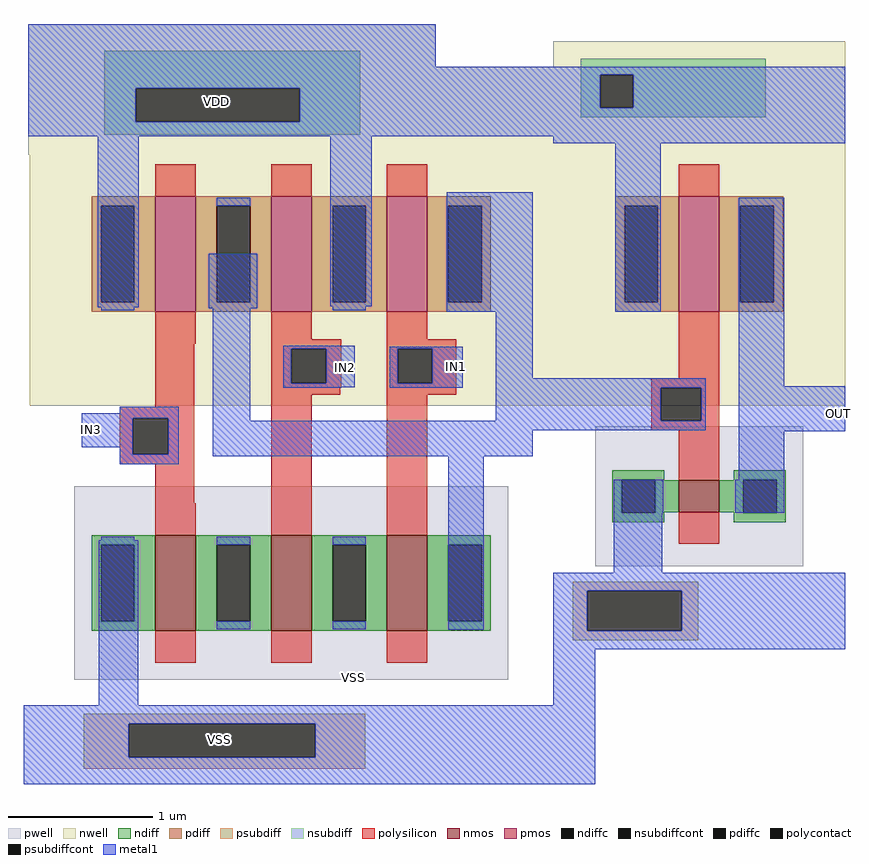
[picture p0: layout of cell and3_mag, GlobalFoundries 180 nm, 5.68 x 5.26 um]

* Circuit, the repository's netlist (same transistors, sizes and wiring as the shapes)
* NGSPICE file created from and3_mag.ext - technology: gf180mcuC

.subckt nmos_3p3_VGTVWA a_n116_n66# a_28_n66# a_n28_n110# VSUBS
X0 a_28_n66# a_n28_n110# a_n116_n66# VSUBS nfet_03v3 ad=0.29p pd=2.2u as=0.29p ps=2.2u w=0.66u l=0.28u
.ends

.subckt pmos_3p3_M8SWPS a_n28_n124# a_n116_n80# a_28_n80# w_n202_n210#
X0 a_28_n80# a_n28_n124# a_n116_n80# w_n202_n210# pfet_03v3 ad=0.352p pd=2.48u as=0.352p ps=2.48u w=0.8u l=0.28u
.ends

.subckt pmos_3p3_MQGBLR a_n28_n124# a_n116_n80# a_28_n80# w_n202_n210#
X0 a_28_n80# a_n28_n124# a_n116_n80# w_n202_n210# pfet_03v3 ad=0.352p pd=2.48u as=0.352p ps=2.48u w=0.8u l=0.28u
.ends

.subckt nmos_3p3_DDNVWA a_n120_n36# a_28_n22# a_n28_n66# VSUBS
X0 a_28_n22# a_n28_n66# a_n120_n36# VSUBS nfet_03v3 ad=0.152p pd=1.64u as=0.152p ps=1.64u w=0.22u l=0.28u
.ends

.subckt GF_INV_MAG VDD VSS IN OUT
Xpmos_3p3_MQGBLR_0 IN VDD OUT VDD pmos_3p3_MQGBLR
Xnmos_3p3_DDNVWA_0 VSS OUT IN VSS nmos_3p3_DDNVWA
.ends

.subckt and3_mag VDD VSS IN3 IN2 IN1
Xnmos_3p3_VGTVWA_0 nmos_3p3_VGTVWA_1/a_28_n66# nmos_3p3_VGTVWA_0/a_28_n66# IN2 VSS
+ nmos_3p3_VGTVWA
Xnmos_3p3_VGTVWA_1 VSS nmos_3p3_VGTVWA_1/a_28_n66# IN3 VSS nmos_3p3_VGTVWA
Xnmos_3p3_VGTVWA_2 nmos_3p3_VGTVWA_0/a_28_n66# GF_INV_MAG_0/IN IN1 VSS nmos_3p3_VGTVWA
Xpmos_3p3_M8SWPS_0 IN1 VDD GF_INV_MAG_0/IN VDD pmos_3p3_M8SWPS
Xpmos_3p3_M8SWPS_1 IN3 VDD GF_INV_MAG_0/IN VDD pmos_3p3_M8SWPS
Xpmos_3p3_M8SWPS_2 IN2 GF_INV_MAG_0/IN VDD VDD pmos_3p3_M8SWPS
XGF_INV_MAG_0 VDD VSS GF_INV_MAG_0/IN GF_INV_MAG_0/OUT GF_INV_MAG
.ends

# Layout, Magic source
magic
tech gf180mcuC
magscale 1 10
<< nwell >>
rect -64 804 500 863
rect -64 763 685 804
rect -64 708 681 763
rect -64 682 500 708
rect 295 365 304 418
rect 345 366 354 417
rect 386 361 388 418
rect 485 417 528 421
rect 436 414 484 417
rect 485 414 529 417
rect 436 365 447 414
rect 485 364 528 414
<< psubdiff >>
rect 13 -105 402 -91
rect 13 -151 75 -105
rect 333 -151 402 -105
rect 13 -167 402 -151
<< nsubdiff >>
rect 41 774 395 826
rect 41 728 85 774
rect 312 728 395 774
rect 41 710 395 728
<< psubdiffcont >>
rect 75 -151 333 -105
<< nsubdiffcont >>
rect 85 728 312 774
<< polysilicon >>
rect 289 421 369 427
rect 112 334 166 421
rect 63 318 166 334
rect 63 268 81 318
rect 130 268 166 318
rect 63 254 166 268
rect 112 200 166 254
rect 272 414 369 421
rect 272 366 300 414
rect 348 366 369 414
rect 272 360 369 366
rect 432 414 528 427
rect 432 366 447 414
rect 495 366 528 414
rect 272 350 368 360
rect 432 350 528 366
rect 272 200 328 350
rect 432 200 488 350
<< polycontact >>
rect 81 268 130 318
rect 300 366 348 414
rect 447 366 495 414
<< metal1 >>
rect -64 804 500 863
rect -64 774 685 804
rect -64 728 85 774
rect 312 763 685 774
rect 312 728 681 763
rect -64 708 681 728
rect 32 471 89 708
rect 186 470 253 545
rect 354 473 411 708
rect 63 325 144 334
rect 10 318 144 325
rect 10 278 81 318
rect 63 268 81 278
rect 130 268 144 318
rect 63 254 144 268
rect 191 314 243 470
rect 515 465 634 630
rect 289 414 388 418
rect 289 366 300 414
rect 348 366 388 414
rect 289 361 388 366
rect 436 414 537 417
rect 436 366 447 414
rect 495 366 537 414
rect 289 360 369 361
rect 436 360 537 366
rect 583 373 634 465
rect 583 314 680 373
rect 191 301 671 314
rect 191 265 634 301
rect 980 300 1066 362
rect 34 -79 88 149
rect 517 25 566 265
rect 662 -79 720 7
rect -70 -105 720 -79
rect -70 -151 75 -105
rect 333 -151 720 -105
rect -70 -188 720 -151
use GF_INV_MAG  GF_INV_MAG_0
transform 1 0 780 0 1 173
box -118 -175 286 631
use nmos_3p3_VGTVWA  nmos_3p3_VGTVWA_0
transform 1 0 300 0 1 90
box -140 -134 140 134
use nmos_3p3_VGTVWA  nmos_3p3_VGTVWA_1
transform 1 0 140 0 1 90
box -140 -134 140 134
use nmos_3p3_VGTVWA  nmos_3p3_VGTVWA_2
transform 1 0 460 0 1 90
box -140 -134 140 134
use pmos_3p3_M8SWPS  pmos_3p3_M8SWPS_0
transform 1 0 460 0 1 545
box -202 -210 202 210
use pmos_3p3_M8SWPS  pmos_3p3_M8SWPS_1
transform 1 0 140 0 1 545
box -202 -210 202 210
use pmos_3p3_M8SWPS  pmos_3p3_M8SWPS_2
transform 1 0 300 0 1 545
box -202 -210 202 210
<< labels >>
flabel nsubdiffcont 196 756 196 756 0 FreeSans 480 0 0 0 VDD
port 3 nsew
flabel psubdiffcont 200 -126 200 -126 0 FreeSans 480 0 0 0 VSS
port 4 nsew
flabel space 200 -126 571 44 0 FreeSans 480 0 0 0 VSS
port 5 nsew
flabel metal1 24 302 24 302 0 FreeSans 320 0 0 0 IN3
port 8 nsew
flabel metal1 375 388 375 388 0 FreeSans 320 0 0 0 IN2
port 9 nsew
flabel metal1 529 390 529 390 0 FreeSans 320 0 0 0 IN1
port 11 nsew
flabel metal1 1057 325 1057 325 0 FreeSans 320 0 0 0 OUT
port 12 nsew
<< end >>

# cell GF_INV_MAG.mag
magic
tech gf180mcuC
magscale 1 10
<< nwell >>
rect -118 526 286 666
rect -84 525 271 526
rect -32 292 31 525
<< psubdiff >>
rect -91 -94 83 -81
rect -91 -149 -71 -94
rect 60 -149 83 -94
rect -91 -162 83 -149
<< nsubdiff >>
rect -80 620 176 642
rect -80 574 -53 620
rect -7 574 176 620
rect -80 561 176 574
<< psubdiffcont >>
rect -71 -149 60 -94
<< nsubdiffcont >>
rect -53 574 -7 620
<< polysilicon >>
rect 56 200 112 248
rect 18 187 112 200
rect 18 141 31 187
rect 87 141 112 187
rect 18 128 112 141
rect 56 103 112 128
<< polycontact >>
rect 31 141 87 187
<< metal1 >>
rect -118 620 286 631
rect -118 574 -53 620
rect -7 574 286 620
rect -118 525 286 574
rect -32 292 31 525
rect -118 187 93 200
rect -118 141 31 187
rect 87 141 93 187
rect -118 128 93 141
rect 139 189 202 450
rect 139 131 286 189
rect -34 -69 33 60
rect 139 14 202 131
rect -118 -94 286 -69
rect -118 -149 -71 -94
rect 60 -149 286 -94
rect -118 -175 286 -149
use nmos_3p3_DDNVWA  nmos_3p3_DDNVWA_0
transform 1 0 84 0 1 37
box -144 -97 144 97
use pmos_3p3_MQGBLR  pmos_3p3_MQGBLR_0
transform 1 0 84 0 1 372
box -202 -210 202 210
<< labels >>
flabel metal1 -106 158 -106 158 0 FreeSans 640 0 0 0 IN
port 2 nsew
flabel metal1 276 159 276 159 0 FreeSans 640 0 0 0 OUT
port 3 nsew
flabel psubdiffcont -11 -123 -11 -123 0 FreeSans 640 0 0 0 VSS
port 4 nsew
<< end >>

# cell nmos_3p3_VGTVWA: kit device nmos_3p3, w 0.660 l 0.280 m 1 nf 1 diffcov 100 polycov 100 guard 0 glc 0 grc 0 gtc 0 gbc 0 tbcov 100 rlcov 100 topc 0 botc 0 poverlap 0 doverlap 1 lmin 0.28 wmin 0.22 full_metal 0 compatible {nmos_3p3 nmos_6p0 nmos_6p0_nat}

# cell pmos_3p3_M8SWPS: kit device pmos_3p3, w 0.80 l 0.280 m 1 nf 1 diffcov 100 polycov 100 guard 0 glc 0 grc 0 gtc 0 gbc 0 tbcov 100 rlcov 100 topc 0 botc 0 poverlap 0 doverlap 1 lmin 0.28 wmin 0.22 full_metal 0 compatible {pmos_3p3 pmos_6p0}

# cell nmos_3p3_DDNVWA: kit device nmos_3p3, w 0.220 l 0.280 m 1 nf 1 diffcov 100 polycov 100 guard 0 glc 0 grc 0 gtc 0 gbc 0 tbcov 100 rlcov 100 topc 0 botc 0 poverlap 0 doverlap 1 lmin 0.28 wmin 0.22 full_metal 0 compatible {nmos_3p3 nmos_6p0 nmos_6p0_nat}

# cell pmos_3p3_MQGBLR: kit device pmos_3p3, w 0.8 l 0.280 m 1 nf 1 diffcov 100 polycov 100 guard 0 glc 0 grc 0 gtc 0 gbc 0 tbcov 100 rlcov 100 topc 0 botc 0 poverlap 0 doverlap 1 lmin 0.28 wmin 0.22 full_metal 0 compatible {pmos_3p3 pmos_6p0}
